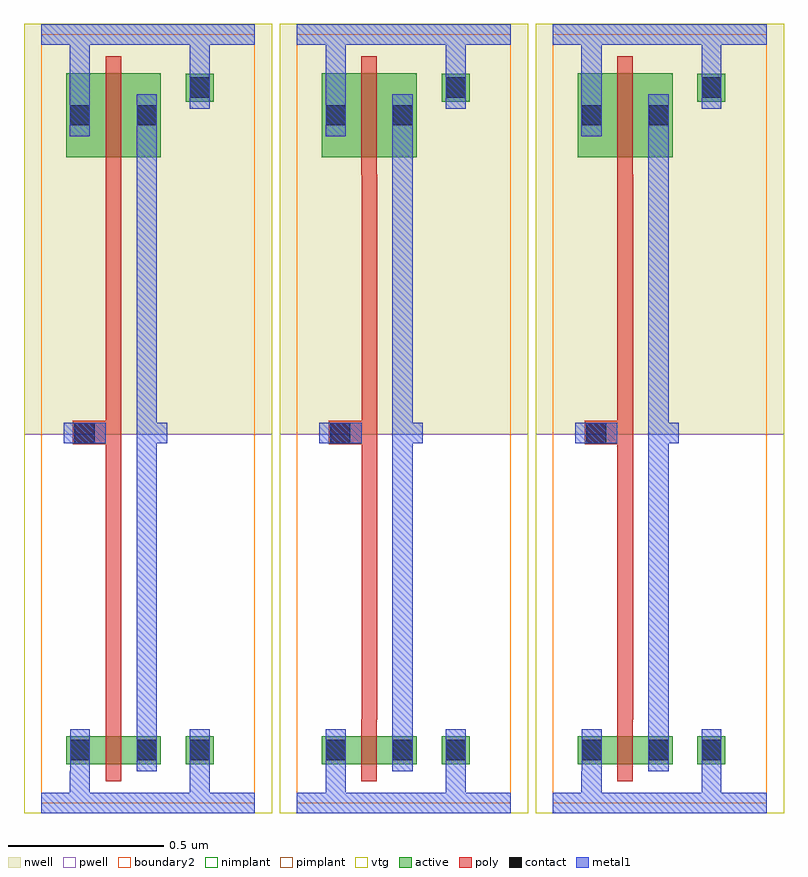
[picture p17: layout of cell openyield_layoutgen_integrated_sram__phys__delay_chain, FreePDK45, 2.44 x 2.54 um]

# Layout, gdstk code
import gdstk
lib = gdstk.Library(unit=1e-6, precision=1e-09)
def R(c, l, rs):  # rectangles x0, y0, x1, y1
    for r in rs: c.add(gdstk.rectangle(r[:2], r[2:], *l))
active = (1, 0)
pwell = (2, 0)
nwell = (3, 0)
nimplant = (4, 0)
pimplant = (5, 0)
vtg = (6, 0)
poly = (9, 0)
contact = (10, 0)
metal1 = (11, 0)
boundary2 = (239, 0)

sram_1rw_32x16_freepdk45 = lib.new_cell('sram_1rw_32x16_freepdk45_contact_11')
R(sram_1rw_32x16_freepdk45, active, [(0,0.022,0.09,0.112)])
R(sram_1rw_32x16_freepdk45, nwell, [(-0.055,-0.033,0.145,0.168)])
R(sram_1rw_32x16_freepdk45, pimplant, [(0,0.022,0.09,0.112)])
R(sram_1rw_32x16_freepdk45, contact, [(0.013,0.035,0.077,0.1)])
R(sram_1rw_32x16_freepdk45, metal1, [(0.013,0,0.077,0.135)])
R(sram_1rw_32x16_freepdk45, boundary2, [(-0.055,-0.033,0.145,0.168)])

c_sram_1rw_32x16_freepdk45 = lib.new_cell('sram_1rw_32x16_freepdk45_pmos_m1_w0_270_sm1_dm1_da_p')
R(c_sram_1rw_32x16_freepdk45, active, [(0,0,0.305,0.27)])
R(c_sram_1rw_32x16_freepdk45, nwell, [(-0.08,-0.08,0.385,0.35)])
R(c_sram_1rw_32x16_freepdk45, pimplant, [(0,0,0.305,0.27)])
R(c_sram_1rw_32x16_freepdk45, vtg, [(-0.08,-0.08,0.385,0.35)])
R(c_sram_1rw_32x16_freepdk45, poly, [(0.127,-0.055,0.177,0.325), (0.127,-0.055,0.177,0.325)])
R(c_sram_1rw_32x16_freepdk45, metal1, [(0.013,0.068,0.077,0.203), (0.227,0.068,0.292,0.203)])
R(c_sram_1rw_32x16_freepdk45, boundary2, [(-0.08,-0.08,0.385,0.35)])
c_sram_1rw_32x16_freepdk45.add(gdstk.Reference(sram_1rw_32x16_freepdk45, (0,0.068)))
c_sram_1rw_32x16_freepdk45.add(gdstk.Reference(sram_1rw_32x16_freepdk45, (0.215,0.068)))
c_sram_1rw_32x16_freepdk45.add(gdstk.Label('G', (0.152,0.135), layer=9, texttype=0))
c_sram_1rw_32x16_freepdk45.add(gdstk.Label('S', (0.045,0.135), layer=11, texttype=0))
c_sram_1rw_32x16_freepdk45.add(gdstk.Label('D', (0.26,0.135), layer=11, texttype=0))

c_sram_1rw_32x16_freepdk45_ = lib.new_cell('sram_1rw_32x16_freepdk45_contact_10')
R(c_sram_1rw_32x16_freepdk45_, active, [(0,0.022,0.09,0.112)])
R(c_sram_1rw_32x16_freepdk45_, pwell, [(-0.055,-0.033,0.145,0.168)])
R(c_sram_1rw_32x16_freepdk45_, nimplant, [(0,0.022,0.09,0.112)])
R(c_sram_1rw_32x16_freepdk45_, contact, [(0.013,0.035,0.077,0.1)])
R(c_sram_1rw_32x16_freepdk45_, metal1, [(0.013,0,0.077,0.135)])
R(c_sram_1rw_32x16_freepdk45_, boundary2, [(-0.055,-0.033,0.145,0.168)])

c_sram_1rw_32x16_freepdk45__ = lib.new_cell('sram_1rw_32x16_freepdk45_nmos_m1_w0_090_sm1_dm1_da_p')
R(c_sram_1rw_32x16_freepdk45__, active, [(0,0,0.305,0.09)])
R(c_sram_1rw_32x16_freepdk45__, pwell, [(-0.08,-0.08,0.385,0.17)])
R(c_sram_1rw_32x16_freepdk45__, nimplant, [(0,0,0.305,0.09)])
R(c_sram_1rw_32x16_freepdk45__, vtg, [(-0.08,-0.08,0.385,0.17)])
R(c_sram_1rw_32x16_freepdk45__, poly, [(0.127,-0.055,0.177,0.145), (0.127,-0.055,0.177,0.145)])
R(c_sram_1rw_32x16_freepdk45__, metal1, [(0.013,-0.022,0.077,0.112), (0.227,-0.022,0.292,0.112)])
R(c_sram_1rw_32x16_freepdk45__, boundary2, [(-0.08,-0.08,0.385,0.17)])
c_sram_1rw_32x16_freepdk45__.add(gdstk.Reference(c_sram_1rw_32x16_freepdk45_, (0,-0.022)))
c_sram_1rw_32x16_freepdk45__.add(gdstk.Reference(c_sram_1rw_32x16_freepdk45_, (0.215,-0.022)))
c_sram_1rw_32x16_freepdk45__.add(gdstk.Label('G', (0.152,0.045), layer=9, texttype=0))
c_sram_1rw_32x16_freepdk45__.add(gdstk.Label('S', (0.045,0.045), layer=11, texttype=0))
c_sram_1rw_32x16_freepdk45__.add(gdstk.Label('D', (0.26,0.045), layer=11, texttype=0))

c_sram_1rw_32x16_freepdk45___ = lib.new_cell('sram_1rw_32x16_freepdk45_contact_12')
R(c_sram_1rw_32x16_freepdk45___, active, [(0,0.022,0.09,0.112)])
R(c_sram_1rw_32x16_freepdk45___, nwell, [(-0.055,-0.033,0.145,0.168)])
R(c_sram_1rw_32x16_freepdk45___, nimplant, [(0,0.022,0.09,0.112)])
R(c_sram_1rw_32x16_freepdk45___, contact, [(0.013,0.035,0.077,0.1)])
R(c_sram_1rw_32x16_freepdk45___, metal1, [(0.013,0,0.077,0.135)])
R(c_sram_1rw_32x16_freepdk45___, boundary2, [(-0.055,-0.033,0.145,0.168)])

c_sram_1rw_32x16_freepdk45____ = lib.new_cell('sram_1rw_32x16_freepdk45_contact_13')
R(c_sram_1rw_32x16_freepdk45____, active, [(0,0.022,0.09,0.112)])
R(c_sram_1rw_32x16_freepdk45____, pwell, [(-0.055,-0.033,0.145,0.168)])
R(c_sram_1rw_32x16_freepdk45____, pimplant, [(0,0.022,0.09,0.112)])
R(c_sram_1rw_32x16_freepdk45____, contact, [(0.013,0.035,0.077,0.1)])
R(c_sram_1rw_32x16_freepdk45____, metal1, [(0.013,0,0.077,0.135)])
R(c_sram_1rw_32x16_freepdk45____, boundary2, [(-0.055,-0.033,0.145,0.168)])

c_sram_1rw_32x16_freepdk45_____ = lib.new_cell('sram_1rw_32x16_freepdk45_contact_14')
R(c_sram_1rw_32x16_freepdk45_____, poly, [(0.03,0,0.105,0.075)])
R(c_sram_1rw_32x16_freepdk45_____, contact, [(0.035,0.005,0.1,0.07)])
R(c_sram_1rw_32x16_freepdk45_____, metal1, [(0,0.005,0.135,0.07)])
R(c_sram_1rw_32x16_freepdk45_____, boundary2, [(0,0,0.135,0.075)])

gen_delay_inv = lib.new_cell('gen_delay_inv')
R(gen_delay_inv, pwell, [(-0.055,-0.033,0.743,1.185)])
R(gen_delay_inv, nwell, [(-0.055,1.185,0.743,2.505)])
R(gen_delay_inv, vtg, [(-0.055,-0.033,0.743,1.185), (-0.055,1.185,0.743,2.505)])
R(gen_delay_inv, poly, [(0.208,0.27,0.258,2.02), (0.14,1.153,0.208,1.228)])
R(gen_delay_inv, metal1, [(0,-0.033,0.687,0.033), (0.092,-0.033,0.157,0.103), (0.478,0,0.542,0.17), (0.307,0.103,0.372,2.277), (0.072,1.157,0.208,1.222), (0.34,1.157,0.405,1.222), (0.092,2.143,0.157,2.502), (0.478,2.3,0.542,2.47), (0,2.437,0.687,2.502)])
R(gen_delay_inv, boundary2, [(0,0,0.687,2.47), (0,0,0.687,2.47)])
gen_delay_inv.add(gdstk.Reference(c_sram_1rw_32x16_freepdk45, (0.08,2.075)))
gen_delay_inv.add(gdstk.Reference(c_sram_1rw_32x16_freepdk45__, (0.08,0.125)))
gen_delay_inv.add(gdstk.Reference(c_sram_1rw_32x16_freepdk45___, (0.465,2.232)))
gen_delay_inv.add(gdstk.Reference(c_sram_1rw_32x16_freepdk45____, (0.465,0.103)))
gen_delay_inv.add(gdstk.Reference(c_sram_1rw_32x16_freepdk45_____, (0.072,1.153)))
gen_delay_inv.add(gdstk.Label('A', (0.14,1.19), layer=11, texttype=0))
gen_delay_inv.add(gdstk.Label('Z', (0.372,1.19), layer=11, texttype=0))
gen_delay_inv.add(gdstk.Label('gnd', (0.345,0), layer=11, texttype=0))
gen_delay_inv.add(gdstk.Label('vdd', (0.345,2.47), layer=11, texttype=0))

openyield_layoutgen_inte = lib.new_cell('openyield_layoutgen_integrated_sram__phys__delay_chain')
openyield_layoutgen_inte.add(gdstk.Reference(gen_delay_inv, (0.343,20.992)))
openyield_layoutgen_inte.add(gdstk.Reference(gen_delay_inv, (1.165,20.992)))
openyield_layoutgen_inte.add(gdstk.Reference(gen_delay_inv, (1.987,20.992)))

lib.write_gds('openyield_layoutgen_integrated_sram__phys__delay_chain.gds')
